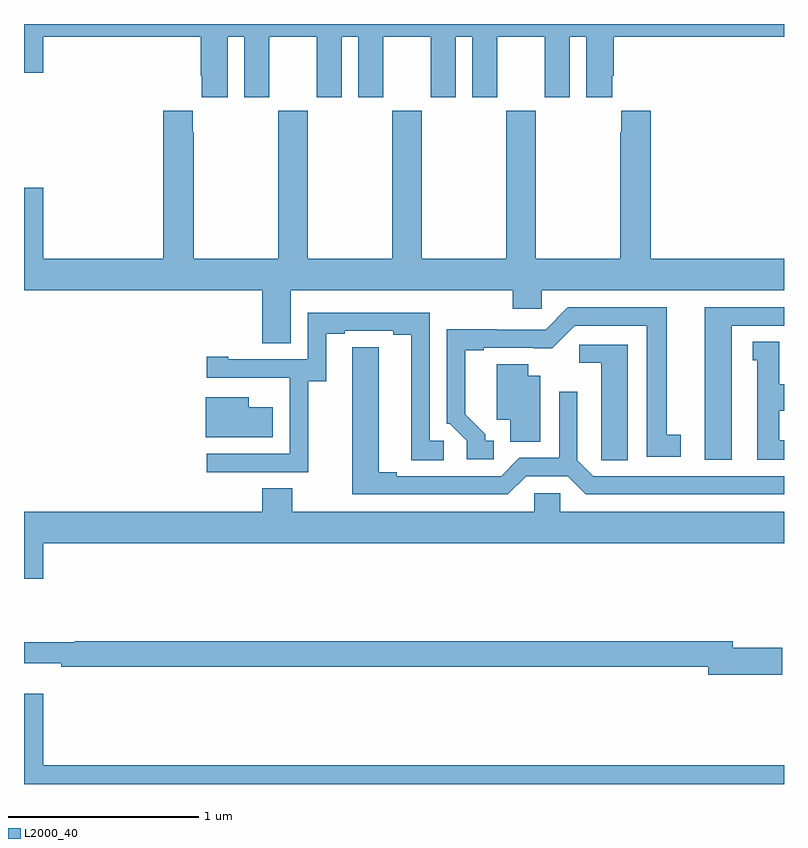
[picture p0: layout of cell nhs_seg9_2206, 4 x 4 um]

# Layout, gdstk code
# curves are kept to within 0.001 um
import gdstk
lib = gdstk.Library(unit=1e-6, precision=1e-09)
def P(c, l, *ps):  # polygons
    for p in ps: c.add(gdstk.Polygon(p, *l))
L2000_40 = (2000, 40)

nhs_seg9_2206 = lib.new_cell('nhs_seg9_2206')
P(nhs_seg9_2206, L2000_40, [(238.072,1184.432),(238.16,1184.432),(238.16,1184.115),(238.291,1184.115),(238.291,1184.432),(238.541,1184.432),(238.541,1184.115),(238.672,1184.115),(238.672,1184.432),(238.76,1184.432),(238.76,1184.115),(238.891,1184.115),(238.891,1184.432),(239.141,1184.432),(239.141,1184.115),(239.272,1184.115),(239.272,1184.432),(239.36,1184.432),(239.36,1184.115),(239.491,1184.115),(239.491,1184.432),(239.741,1184.432),(239.741,1184.115),(239.872,1184.115),(239.872,1184.432),(239.96,1184.432),(239.96,1184.115),(240.097,1184.115),(240.097,1184.227),(240.104,1184.227),(240.104,1184.432),(241,1184.432),(241,1184.5),(237,1184.5),(237,1184.244),(237.1,1184.244),(237.1,1184.432),(237.929,1184.432),(237.929,1184.227),(237.935,1184.227),(237.935,1184.115),(238.072,1184.115)],
  [(241,1183.264),(240.299,1183.264),(240.299,1184.044),(240.143,1184.044),(240.143,1183.931),(240.139,1183.931),(240.139,1183.264),(239.694,1183.264),(239.694,1184.044),(239.539,1184.044),(239.539,1183.264),(239.094,1183.264),(239.094,1184.044),(238.939,1184.044),(238.939,1183.264),(238.494,1183.264),(238.494,1184.044),(238.339,1184.044),(238.339,1183.264),(237.894,1183.264),(237.894,1183.931),(237.889,1183.931),(237.889,1184.044),(237.734,1184.044),(237.734,1183.264),(237.1,1183.264),(237.1,1183.639),(237,1183.639),(237,1183.1),(238.253,1183.1),(238.253,1182.82),(238.405,1182.82),(238.405,1183.1),(239.573,1183.1),(239.573,1183.002),(239.724,1183.002),(239.724,1183.1),(241,1183.1)],
  [(239.473,1182.306),(239.428,1182.306),(239.428,1182.341),(239.323,1182.446),(239.323,1182.783),(239.419,1182.783),(239.419,1182.795),(239.78,1182.794),(239.898,1182.912),(240.278,1182.912),(240.278,1182.222),(240.457,1182.222),(240.457,1182.338),(240.382,1182.338),(240.382,1183.008),(239.862,1183.008),(239.745,1182.891),(239.489,1182.891),(239.489,1182.893),(239.226,1182.893),(239.226,1182.396),(239.241,1182.396),(239.331,1182.306),(239.331,1182.21),(239.473,1182.21)],
  [(240.724,1182.912),(241,1182.912),(241,1183.008),(240.584,1183.008),(240.584,1182.207),(240.724,1182.207)],
  [(238.497,1182.619),(238.591,1182.619),(238.591,1182.87),(238.687,1182.87),(238.687,1182.885),(238.943,1182.885),(238.943,1182.865),(239.039,1182.865),(239.039,1182.205),(239.209,1182.205),(239.209,1182.306),(239.136,1182.306),(239.136,1182.981),(238.494,1182.981),(238.494,1182.735),(238.075,1182.735),(238.075,1182.748),(237.963,1182.748),(237.963,1182.639),(238.397,1182.639),(238.397,1182.638),(238.398,1182.638),(238.398,1182.237),(237.963,1182.237),(237.963,1182.141),(238.497,1182.141)],
  [(241,1182.309),(240.976,1182.309),(240.976,1182.464),(241,1182.464),(241,1182.604),(240.976,1182.604),(240.976,1182.827),(240.836,1182.827),(240.836,1182.729),(240.86,1182.729),(240.86,1182.207),(241,1182.207)],
  [(240.178,1182.813),(239.922,1182.813),(239.922,1182.716),(240.038,1182.716),(240.038,1182.313),(240.039,1182.313),(240.039,1182.205),(240.178,1182.205)],
  [(239.643,1182.12),(239.861,1182.12),(239.957,1182.024),(241,1182.024),(241,1182.12),(239.997,1182.12),(239.913,1182.204),(239.913,1182.565),(239.817,1182.565),(239.817,1182.216),(239.607,1182.216),(239.511,1182.12),(238.963,1182.12),(238.963,1182.14),(238.867,1182.14),(238.867,1182.8),(238.728,1182.8),(238.727,1182.024),(239.547,1182.024)],
  [(239.716,1182.649),(239.653,1182.649),(239.653,1182.71),(239.489,1182.71),(239.489,1182.416),(239.558,1182.416),(239.558,1182.301),(239.716,1182.301)],
  [(238.309,1182.484),(238.183,1182.484),(238.183,1182.535),(237.956,1182.535),(237.956,1182.326),(238.309,1182.326)],
  [(237.1,1181.768),(241,1181.768),(241,1181.932),(239.823,1181.932),(239.823,1182.03),(239.685,1182.03),(239.685,1181.932),(238.413,1181.932),(238.413,1182.056),(238.253,1182.056),(238.253,1181.932),(237,1181.932),(237,1181.58),(237.1,1181.58)],
  [(240.991,1181.216),(240.73,1181.216),(240.73,1181.252),(237.267,1181.252),(237.267,1181.245),(237,1181.245),(237,1181.135),(237.196,1181.135),(237.196,1181.116),(240.602,1181.116),(240.602,1181.074),(240.991,1181.074)],
  [(241,1180.6),(237.1,1180.6),(237.1,1180.975),(237,1180.975),(237,1180.5),(241,1180.5)])

lib.write_gds('nhs_seg9_2206.gds')
